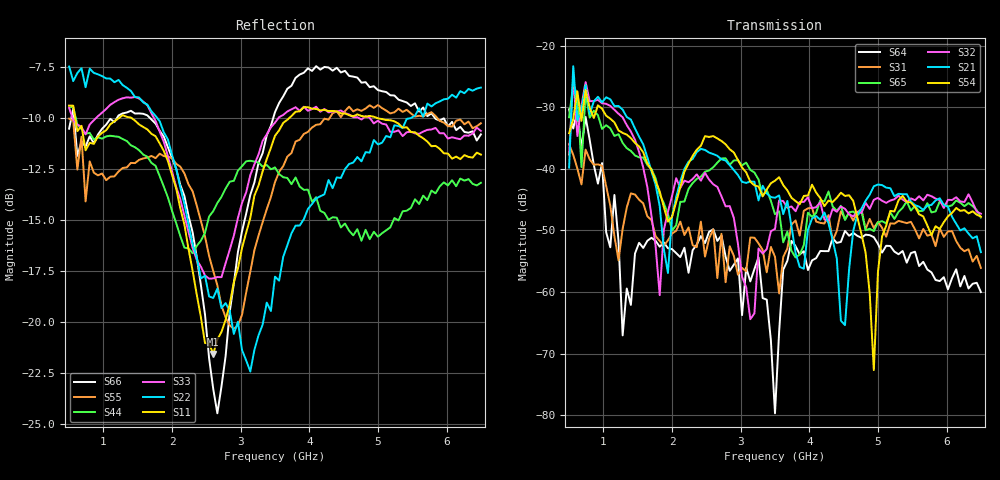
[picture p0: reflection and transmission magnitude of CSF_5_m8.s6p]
!Keysight Technologies,M9804A,MY58100912,A.14.10.03
!Date: Thursday, April 27, 2023 10:28:33
!Correction: S11(C  6-Port  )
!S12(C  6-Port  )
!S13(C  6-Port  )
!S14(C  6-Port  )
!S15(C  6-Port  )
!S16(C  6-Port  )
!S21(C  6-Port  )
!S22(C  6-Port  )
!S23(C  6-Port  )
!S24(C  6-Port  )
!S25(C  6-Port  )
!S26(C  6-Port  )
!S31(C  6-Port  )
!S32(C  6-Port  )
!S33(C  6-Port  )
!S34(C  6-Port  )
!S35(C  6-Port  )
!S36(C  6-Port  )
!S41(C  6-Port  )
!S42(C  6-Port  )
!S43(C  6-Port  )
!S44(C  6-Port  )
!S45(C  6-Port  )
!S46(C  6-Port  )
!S51(C  6-Port  )
!S52(C  6-Port  )
!S53(C  6-Port  )
!S54(C  6-Port  )
!S55(C  6-Port  )
!S56(C  6-Port  )
!S61(C  6-Port  )
!S62(C  6-Port  )
!S63(C  6-Port  )
!S64(C  6-Port  )
!S65(C  6-Port  )
!S66(C  6-Port  )
!S6P File: Measurement: :
# Hz S  RI  R 50
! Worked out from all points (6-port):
!   101 points, 500 MHz to 6.5 GHz, reference 50 ohm
!   strongest paths, dB at 500 MHz, 2 GHz, 3.5 GHz, 5 GHz, 6.5 GHz:
!     S54: -34.2, -47.8, -41.9, -56.8, -47.8
!     S21: -39.8, -47.7, -44.7, -42.6, -53.5
!     S32: -37.7, -44.4, -49.8, -44.7, -47.3
!     S65: -31.6, -50.0, -47.4, -48.7, -47.9
!     S31: -36.0, -50.5, -54.3, -48.6, -56.1
!     S64: -30.4, -53.1, -79.7, -52.2, -60.0
!   lowest |S11| = -21.6 dB at 2.6 GHz (marker M1), VSWR 1.18, Z = 42.6 + j2.06 ohm
!   |S11| at or under -10 dB: 588.1 MHz to 1.234 GHz (645.8 MHz wide, 70.9 % of centre); 1.401 GHz to 3.715 GHz (2.314 GHz wide, 90.5 % of centre); 4.973 GHz to end of sweep
